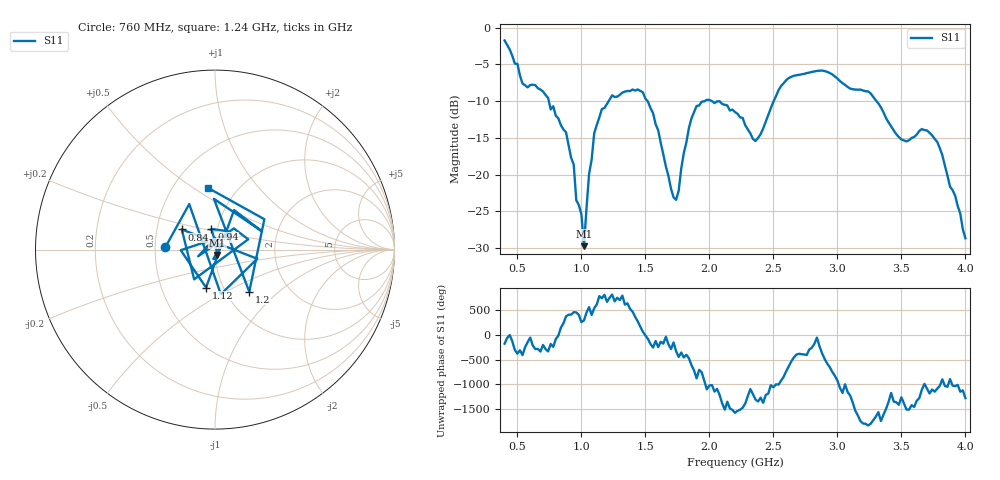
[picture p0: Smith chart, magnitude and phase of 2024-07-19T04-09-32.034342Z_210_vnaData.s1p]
!Created with skrf (http://scikit-rf.org).
# Hz S RI R 50.0
!freq ReS11 ImS11
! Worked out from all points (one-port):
!   181 points, 400 MHz to 4 GHz, reference 50 ohm
!   lowest |S11| = -29.8 dB at 1.02 GHz (marker M1), VSWR 1.07, Z = 51.2 - j3.06 ohm
!   |S11| at or under -10 dB: 745.3 MHz to 1.214 GHz (468.3 MHz wide, 47.8 % of centre); 2.018 GHz to 2.503 GHz (484.1 MHz wide, 21.4 % of centre); 3.304 GHz to end of sweep (the widest 3 of 4)
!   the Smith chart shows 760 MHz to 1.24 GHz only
!   S11 on the Smith chart (normalised r, x): 760 MHz: 0.57, +0.02; 840 MHz: 0.67, +0.16; 940 MHz: 0.94, +0.22; 1.12 GHz: 0.83, -0.37; 1.2 GHz: 1.28, -0.66; 1.24 GHz: 0.74, +0.57
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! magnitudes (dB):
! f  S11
! 400 MHz  -1.8
! 540 MHz  -7.6
! 760 MHz  -11.1
! 840 MHz  -13.3
! 860 MHz  -13.9
! 940 MHz  -18.6
! 960 MHz  -23.5
! 1 GHz  -25.4
! 1.02 GHz  -29.8
! 1.06 GHz  -19.9
! 1.12 GHz  -13.3
! 1.2 GHz  -10.4
! 1.24 GHz  -9.2
! 1.3 GHz  -9.2
! 1.48 GHz  -8.8
! 1.6 GHz  -14.0
! 1.72 GHz  -23.1
! 1.76 GHz  -22.2
! 1.84 GHz  -13.7
! 1.9 GHz  -10.7
! 2.2 GHz  -11.5
! 2.36 GHz  -15.4
! 2.66 GHz  -6.6
! 3.1 GHz  -8.3
! 3.26 GHz  -9.0
! 3.56 GHz  -15.3
! 3.78 GHz  -15.6
! 4 GHz  -28.7
